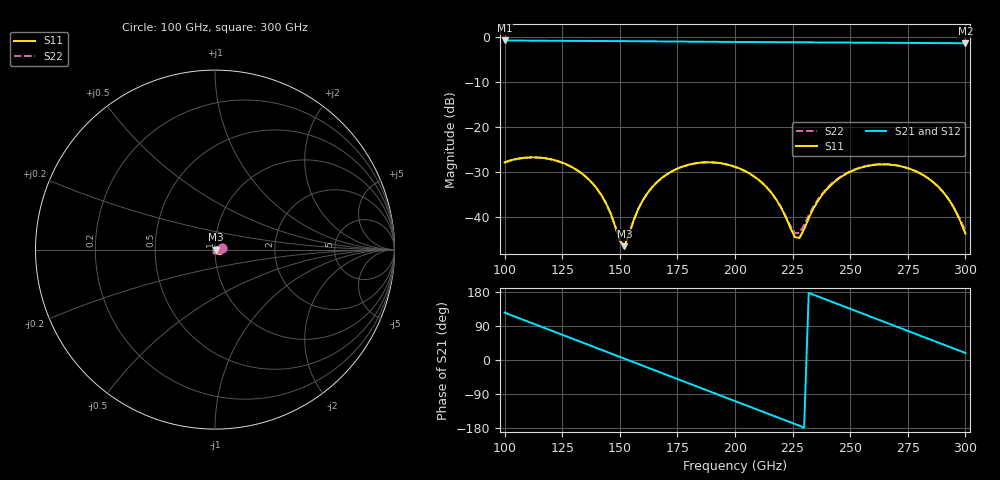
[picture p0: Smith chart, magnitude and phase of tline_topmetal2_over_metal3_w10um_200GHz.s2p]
#  GHZ S DB R 50
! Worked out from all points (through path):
!   101 points, 100 GHz to 300 GHz, reference 50 ohm
!   highest |S21| = -0.70 dB at 100 GHz (marker M1); lowest = -1.3 dB at 300 GHz (marker M2)
!   group delay of S21, straight-line fit = 6.48 ps
!   lowest |S11| = -46.6 dB at 152 GHz (marker M3), VSWR 1.01, Z = 50.5 - j0.0272 ohm
!   |S11| at or under -10 dB: start of sweep to end of sweep
!   |S22| runs from -46.6 to -26.8 dB; largest |S21 - S12| = 1.6e-13
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100  -27.88 11.7  -0.70 125.0  -0.70 125.0  -27.96 12.6
116  -26.86 -20.3  -0.76 87.7  -0.76 87.7  -26.91 -19.7
134  -30.55 -55.0  -0.80 45.7  -0.80 45.7  -30.59 -54.5
142  -35.16 -65.9  -0.83 27.0  -0.83 27.0  -35.21 -65.5
150  -45.37 -39.7  -0.85 8.3  -0.85 8.3  -45.42 -39.0
152  -46.58 -3.3  -0.86 3.6  -0.86 3.6  -46.58 -2.5
160  -36.33 41.8  -0.89 -15.1  -0.89 -15.1  -36.34 42.2
168  -31.46 32.2  -0.92 -33.8  -0.92 -33.8  -31.48 32.6
184  -28.01 1.8  -0.98 -71.1  -0.98 -71.1  -28.04 2.3
200  -28.86 -29.6  -1.03 -108.4  -1.03 -108.4  -28.91 -28.7
214  -33.57 -52.3  -1.07 -141.0  -1.07 -141.0  -33.63 -50.3
226  -44.56 -21.3  -1.11 -169.0  -1.11 -169.0  -43.70 -16.5
228  -44.73 6.3  -1.11 -173.6  -1.11 -173.6  -43.61 7.6
234  -38.24 42.0  -1.13 172.4  -1.13 172.4  -37.80 39.7
240  -33.79 40.5  -1.15 158.4  -1.15 158.4  -33.58 38.8
248  -30.51 28.4  -1.17 139.7  -1.17 139.7  -30.40 27.3
258  -28.64 9.5  -1.20 116.4  -1.20 116.4  -28.57 8.7
268  -28.42 -10.5  -1.23 93.1  -1.23 93.1  -28.39 -10.9
278  -29.77 -30.1  -1.26 69.8  -1.26 69.8  -29.75 -30.0
288  -33.22 -46.9  -1.29 46.5  -1.29 46.5  -33.21 -45.8
294  -37.14 -51.6  -1.31 32.5  -1.31 32.5  -37.08 -49.0
300  -43.79 -33.1  -1.32 18.6  -1.32 18.6  -43.08 -27.6
